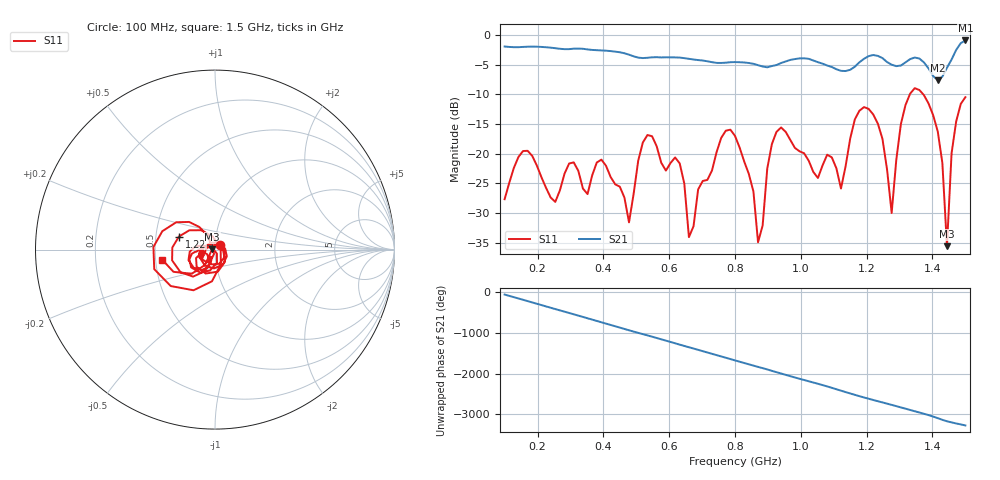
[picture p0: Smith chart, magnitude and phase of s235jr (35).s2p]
! NanoVNA-App
! Date: 2025-09-26 09:45:03
! Start: 100MHz Stop: 1,5GHz Points: 101
! S-Parameter data: F S11 S21 S12 S22
# Hz S RI R 50
!  Frequency  S11_Real  S11_Imag  S21_Real  S21_Imag  S12_Real  S12_Imag  S22_Real  S22_Imag
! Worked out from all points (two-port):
!   101 points, 100 MHz to 1.5 GHz, reference 50 ohm
!   highest |S21| = -0.94 dB at 1.5 GHz (marker M1); lowest = -7.6 dB at 1.416 GHz (marker M2)
!   |S21| within 3 dB of the highest: start of sweep to 648.5 MHz; 1.195 GHz to 1.249 GHz (53.92 MHz wide, 4.41 % of centre) (the widest 2 of 4)
!   lowest |S11| = -35.6 dB at 1.444 GHz (marker M3), VSWR 1.03, Z = 48.4 + j0.213 ohm
!   |S11| at or under -10 dB: start of sweep to 1.331 GHz; 1.372 GHz to end of sweep
!   S12 and S22 are empty: the file has one direction only
!   S11 on the Smith chart (normalised r, x): 100 MHz: 1.06, +0.06; 1.22 GHz: 0.66, +0.10; 1.5 GHz: 0.54, -0.07
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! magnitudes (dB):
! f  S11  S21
! 100 MHz  -27.7  -2.0
! 156 MHz  -19.6  -2.0
! 338 MHz  -25.9  -2.3
! 394 MHz  -21.0  -2.6
! 478 MHz  -31.6  -3.3
! 520 MHz  -18.1  -3.9
! 576 MHz  -21.6  -3.8
! 632 MHz  -21.6  -3.8
! 660 MHz  -34.1  -4.0
! 800 MHz  -17.0  -4.6
! 870 MHz  -34.9  -5.1
! 926 MHz  -16.3  -5.1
! 1.038 GHz  -23.1  -4.3
! 1.122 GHz  -25.9  -6.1
! 1.164 GHz  -14.2  -5.4
! 1.22 GHz  -13.4  -3.4
! 1.276 GHz  -30.0  -5.0
! 1.332 GHz  -9.9  -4.1
! 1.416 GHz  -16.3  -7.6
! 1.444 GHz  -35.6  -5.6
! 1.458 GHz  -20.0  -4.1
! 1.5 GHz  -10.5  -0.9
